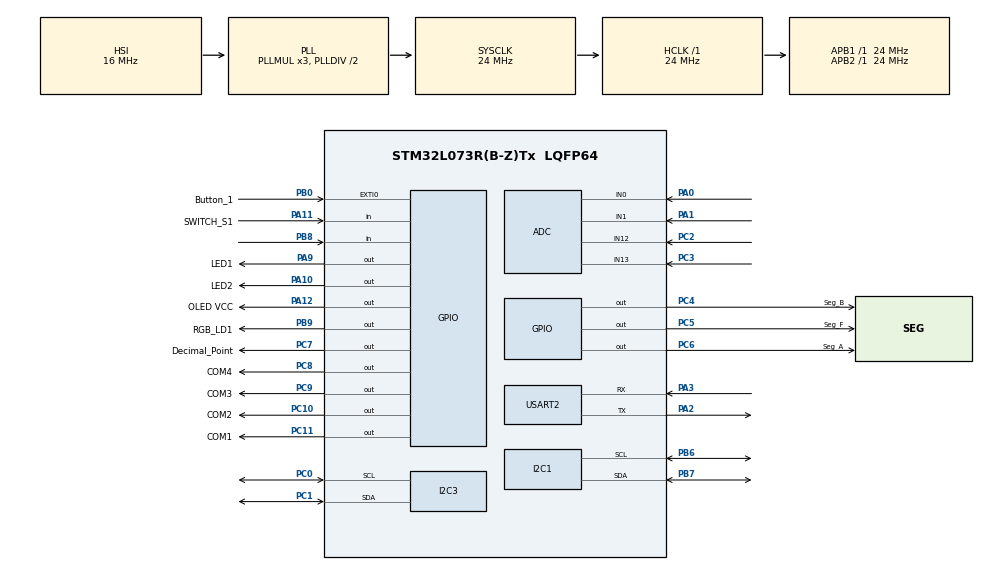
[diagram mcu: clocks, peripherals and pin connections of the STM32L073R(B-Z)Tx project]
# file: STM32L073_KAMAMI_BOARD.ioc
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Dma.ADC.0.Direction=DMA_PERIPH_TO_MEMORY
Dma.ADC.0.Instance=DMA1_Channel1
Dma.ADC.0.MemDataAlignment=DMA_MDATAALIGN_HALFWORD
Dma.ADC.0.MemInc=DMA_MINC_ENABLE
Dma.ADC.0.Mode=DMA_NORMAL
Dma.ADC.0.PeriphDataAlignment=DMA_PDATAALIGN_HALFWORD
Dma.ADC.0.PeriphInc=DMA_PINC_DISABLE
Dma.ADC.0.Priority=DMA_PRIORITY_LOW
Dma.Request0=ADC
I2C1.Timing=0x00506682
I2C3.Timing=0x00506682
Mcu.Family=STM32L0
Mcu.Name=STM32L073R(B-Z)Tx
Mcu.Package=LQFP64
NVIC.DMA1_Channel1_IRQn=true\:0\:0\:false\:false\:true\:false\:true\:true
NVIC.EXTI0_1_IRQn=true\:0\:0\:false\:false\:true\:true\:true\:true
NVIC.PVD_IRQn=true\:0\:0\:false\:false\:true\:true\:true\:true
NVIC.TIM6_DAC_IRQn=true\:0\:0\:false\:false\:true\:true\:true\:true
NVIC.USART2_IRQn=true\:0\:0\:false\:false\:true\:true\:true\:true
PA0.Mode=IN0
PA0.Signal=ADC_IN0
PA1.Mode=IN1
PA1.Signal=ADC_IN1
PA10.GPIO_Label=LED2
PA10.Signal=GPIO_Output
PA11.GPIO_Label=SWITCH_S1
PA11.Signal=GPIO_Input
PA12.GPIO_Label=OLED VCC
PA12.Signal=GPIO_Output
PA13.GPIO_Label=TMS
PA13.Mode=Serial_Wire
PA13.Signal=SYS_SWDIO
PA14.GPIO_Label=TCK
PA14.Mode=Serial_Wire
PA14.Signal=SYS_SWCLK
PA2.Mode=Asynchronous
PA2.Signal=USART2_TX
PA3.Mode=Asynchronous
PA3.Signal=USART2_RX
PA9.GPIO_Label=LED1
PA9.Signal=GPIO_Output
PB0.GPIO_Label=Button_1
PB0.GPIO_ModeDefaultEXTI=GPIO_MODE_IT_RISING
PB0.GPIO_PuPd=GPIO_PULLUP
PB0.Signal=GPXTI0
PB6.Mode=I2C
PB6.Signal=I2C1_SCL
PB7.Mode=I2C
PB7.Signal=I2C1_SDA
PB8.Signal=GPIO_Input
PB9.GPIO_Label=RGB_LD1
PB9.Signal=GPIO_Output
PC0.Mode=I2C
PC0.Signal=I2C3_SCL
PC1.Mode=I2C
PC1.Signal=I2C3_SDA
PC10.GPIO_Label=COM2
PC10.Signal=GPIO_Output
PC11.GPIO_Label=COM1
PC11.Signal=GPIO_Output
PC14-OSC32_IN.Mode=LSE-External-Oscillator
PC14-OSC32_IN.Signal=RCC_OSC32_IN
PC15-OSC32_OUT.Mode=LSE-External-Oscillator
PC15-OSC32_OUT.Signal=RCC_OSC32_OUT
PC2.Mode=IN12
PC2.Signal=ADC_IN12
PC3.Mode=IN13
PC3.Signal=ADC_IN13
PC4.GPIO_Label=Seg_B
PC4.Signal=GPIO_Output
PC5.GPIO_Label=Seg_F
PC5.Signal=GPIO_Output
PC6.GPIO_Label=Seg_A
PC6.Signal=GPIO_Output
PC7.GPIO_Label=Decimal_Point
PC7.Signal=GPIO_Output
PC8.GPIO_Label=COM4
PC8.Signal=GPIO_Output
PC9.GPIO_Label=COM3
PC9.Signal=GPIO_Output
PH0-OSC_IN.GPIO_Label=MCO
PH0-OSC_IN.Mode=HSE-External-Oscillator
PH0-OSC_IN.Signal=RCC_OSC_IN
PH1-OSC_OUT.Mode=HSE-External-Oscillator
PH1-OSC_OUT.Signal=RCC_OSC_OUT
ProjectManager.HeapSize=0x200
ProjectManager.StackSize=0x400
ProjectManager.TargetToolchain=MDK-ARM V5.32
RCC.AHBFreq_Value=24000000
RCC.APB1Freq_Value=24000000
RCC.APB1TimFreq_Value=24000000
RCC.APB2Freq_Value=24000000
RCC.APB2TimFreq_Value=24000000
RCC.HCLKFreq_Value=24000000
RCC.HSE_VALUE=8000000
RCC.HSI16_VALUE=16000000
RCC.HSI48_VALUE=48000000
RCC.HSI_VALUE=16000000
RCC.MSI_VALUE=2097000
RCC.SYSCLKFreq_VALUE=24000000
RCC.SYSCLKSource=RCC_SYSCLKSOURCE_PLLCLK
RCC.VCOOutputFreq_Value=48000000
TIM6.AutoReloadPreload=TIM_AUTORELOAD_PRELOAD_ENABLE
TIM6.Period=7999
TIM6.Prescaler=2999
TIM6.TIM_MasterOutputTrigger=TIM_TRGO_RESET
USART2.VirtualMode-Asynchronous=VM_ASYNC
VP_TIM6_VS_ClockSourceINT.Mode=Enable_Timer
board=NUCLEO-L073RZ

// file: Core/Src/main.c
/* USER CODE BEGIN Header */
/**
  ******************************************************************************
  * @file           : main.c
  * @brief          : Main program body
  ******************************************************************************
  * @attention
  *
  * Copyright (c) 2025 STMicroelectronics.
  * All rights reserved.
  *
  * This software is licensed under terms that can be found in the LICENSE file
  * in the root directory of this software component.
  * If no LICENSE file comes with this software, it is provided AS-IS.
  *
  ******************************************************************************
  */
/* USER CODE END Header */
#include "main.h"

/* USER CODE BEGIN Includes */
#include "math.h"
#include "sc_types.h"
#include "Statechart.h"
#include "Statechart_required.h"
#include "ssd1306.h"
#include "fonts.h"
#include <stdio.h>
#include <string.h>
#include "EventRecorder.h"

/* USER CODE END Includes */

ADC_HandleTypeDef hadc;
DMA_HandleTypeDef hdma_adc;

I2C_HandleTypeDef hi2c1;
I2C_HandleTypeDef hi2c3;

TIM_HandleTypeDef htim6;

UART_HandleTypeDef huart2;

void SystemClock_Config(void);
static void MX_GPIO_Init(void);
static void MX_DMA_Init(void);
static void MX_TIM6_Init(void);
static void MX_ADC_Init(void);
static void MX_I2C3_Init(void);
static void MX_USART2_UART_Init(void);
static void MX_I2C1_Init(void);

/* USER CODE BEGIN 0 */
#define BUFFERLEN 5
#define NUM_ADC_CHANNELS 2
#define ADC_RESOLUTION 4095
#define VREF 3.3
#define ADC_CONVERTED_DATA_BUFFER_SIZE   ((uint32_t)  32) // Size of array aADCxConvertedData[]
#define V_IN 3.3f
#define RC_SAMPLE_TIME_SEC 0.05f // 50 ms
#define R1_OHMS 10000.0f         // 10kO
#define R2_OHMS 100000.0f        // 100kO

/* Definition of ADCx conversions data table size */
/* Variable containing ADC conversions data */
uint8_t TxBuffer[100];   // TX data buffer
uint8_t RxBuffer[100];   // RX data buffer
uint16_t DataBufferADC[BUFFERLEN][NUM_ADC_CHANNELS];
uint16_t RawData[NUM_ADC_CHANNELS];
static uint16_t   aADCxConvertedData[ADC_CONVERTED_DATA_BUFFER_SIZE]; // Variable containing ADC conversions data
float AverageSensorsADC[NUM_ADC_CHANNELS];
float avg_current;
float Capacitance[2]; // Talpos [F]
float Capacitance_Avg; // Talpumo vidurkis
float Capacitance_Diff; // Talpumo skirtumas
Statechart sc_handle; // Statechart pointer
typedef enum {UART_READY,UART_BUSY,UART_FINISHED} UART_Status;
UART_Status Status=UART_READY;
#define ENABLE_EVENT_RECORDER
#define ENABLE_SLEEP

/* DEBUGGING AND PERFORMANCE DECLARATIONS (START) */
#define EVENT_ENTER_ID 0x1
#define EVENT_GOSLEEP_ID 0x2
#define EVENT_TIMER_ID 0x3
#define EVENT_ADC_ID 0x4
#define EVENT_DISPLAY_END_ID 0x5
#ifdef ENABLE_EVENT_RECORDER
#define DEBUG_EVENT_START() EventRecord2 (EVENT_ENTER_ID+EventLevelAPI, 0, 0)
#define DEBUG_EVENT_GOSLEEP() EventRecord2 (EVENT_GOSLEEP_ID+EventLevelAPI, 0, 0)
#define DEBUG_EVENT_TIMER() EventRecord2 (EVENT_TIMER_ID+EventLevelAPI, 0, 0)
#define DEBUG_EVENT_ADC() EventRecord2 (EVENT_ADC_ID+EventLevelAPI, 0, 0)
#define DEBUG_EVENT_DISPLAY() EventRecord2 (EVENT_DISPLAY_END_ID+EventLevelAPI, 0, 0)
#else
#define DEBUG_EVENT_START() __asm("NOP")
#define DEBUG_EVENT_GOSLEEP() __asm("NOP")
#define DEBUG_EVENT_TIMER() __asm("NOP")
#define DEBUG_EVENT_ADC() __asm("NOP")
#define DEBUG_EVENT_DISPLAY() __asm("NOP")
#endif
void HAL_UART_TxCpltCallback(UART_HandleTypeDef *huart)
{
if (Status==UART_BUSY)
	Status=UART_READY; // transmition finished, can send more if needed
}
void HandleError()
{
	uint32_t uart_err;
	uart_err=HAL_UART_GetError(&huart2);
}
void MyErrorHandlerADC()
{
}
/* Start ADC conversion in channal whose number is passed as parameter "channel"*/
sc_integer statechart_startConvADC( Statechart* handle, const sc_integer channel)
{
	if (HAL_ADC_Start_DMA(&hadc,(uint32_t *)aADCxConvertedData, NUM_ADC_CHANNELS) != HAL_OK)
	{
		MyErrorHandlerADC();// handle error};
		return 0;
	}
	return 1;
}
/* Read ADC sample from register and store in DataBUffer */
sc_integer statechart_readADCSample( Statechart* handle, const sc_integer channel)
{
	RawData[0]=aADCxConvertedData[0];
	RawData[1]=aADCxConvertedData[1];
	return 1;
}
sc_integer statechart_saveADCSample( Statechart* handle, const sc_integer channel, const sc_integer sample)
{
	DataBufferADC[sample][0]=RawData[0];
	DataBufferADC[sample][1]=RawData[1];
	return 1;
}
/* Calculate average values of acquired sensor readings */
void statechart_processData(Statechart* handle)
{
     uint32_t sum[NUM_ADC_CHANNELS] = {0};
    float voltages[NUM_ADC_CHANNELS];

    for (int i = 0; i < BUFFERLEN; i++)
    {
        for (int j = 0; j < NUM_ADC_CHANNELS; j++)
        {
            sum[j] += DataBufferADC[i][j];
        }
    }

    for (int j = 0; j < NUM_ADC_CHANNELS; j++)
    {
        uint32_t avg_adc = sum[j] / BUFFERLEN;
        voltages[j] = ((float)avg_adc / ADC_RESOLUTION) * VREF;
    }

    // Kanalas 0: R1 = 10k
    // Kanalas 1: R2 = 100k

    float ln_term_0 = 1.0f - (voltages[0] / V_IN);
    float ln_term_1 = 1.0f - (voltages[1] / V_IN);

    if (ln_term_0 > 0 && ln_term_1 > 0) {
        Capacitance[0] = -RC_SAMPLE_TIME_SEC / (R1_OHMS * logf(ln_term_0));
        Capacitance[1] = -RC_SAMPLE_TIME_SEC / (R2_OHMS * logf(ln_term_1));
    } else {
        Capacitance[0] = 0;
        Capacitance[1] = 0;
    }

    Capacitance_Diff = fabsf(Capacitance[0] - Capacitance[1]);
    Capacitance_Avg = (Capacitance[0] + Capacitance[1]) / 2.0f;
}
void statechart_displayInfo( Statechart* handle)
{
		#ifndef DISABLE_DISPLAY
    static char string_display[30];

    ssd1306_Fill(0);

    // Atvaizduoti vidurki
    ssd1306_SetCursor(0, 20);
    sprintf(string_display, "Avg: %.2fuF", Capacitance_Avg * 1e6);
    ssd1306_WriteString(string_display, Font_11x18, 1);

    // Atvaizduoti skirtuma
    ssd1306_SetCursor(0, 40);
    sprintf(string_display, "Dif: %.2fuF", Capacitance_Diff * 1e6);
    ssd1306_WriteString(string_display, Font_11x18, 1);

    ssd1306_UpdateScreen(&hi2c3);
		#endif
    DEBUG_EVENT_DISPLAY();
    __asm("NOP");
}
void statechart_sendInfo(void)
{
    if (Status != UART_READY) return;  // Don't transmit if UART is busy

    // Format the message with capacitance values in microFarads
    snprintf((char*)TxBuffer, sizeof(TxBuffer), "AVG: %.2f uF\r\nDIF: %.2f uF\r\n\r\n",
             Capacitance_Avg * 1e6, Capacitance_Diff * 1e6);

    // Mark UART as busy
    Status = UART_BUSY;

    // Start transmission in interrupt mode
    if (HAL_UART_Transmit_IT(&huart2, TxBuffer, strlen((char*)TxBuffer)) != HAL_OK) {
        HandleError();
        Status = UART_READY; // Recover if needed
    }
}
void statechart_readI2CSensor( Statechart* handle)
{
}
sc_integer statechart_saveI2CSample( Statechart* handle, const sc_integer sample_no)
{
}
void HAL_TIM_PeriodElapsedCallback(TIM_HandleTypeDef *htim)
{
	DEBUG_EVENT_TIMER();
	if (htim==&htim6)
	{
		HAL_ResumeTick(); // Enable SysTick after wake-up
		statechart_raise_ev_GetSample(&sc_handle); //raise event TimerIntr in statechart

		__NOP();
	}
}
void HAL_ADC_ConvCpltCallback(ADC_HandleTypeDef *hadc)
{
	DEBUG_EVENT_ADC();
	HAL_ResumeTick(); // Enable SysTick after wake-up
	statechart_raise_ev_ADCSampleReady(&sc_handle); //raise event TimerIntr in statechart
}

//static void SYSCLKConfig_STOP(void)
//{
//	RCC_ClkInitTypeDef RCC_ClkInitStruct = {0};
//	RCC_OscInitTypeDef RCC_OscInitStruct = {0};
//	uint32_t pFLatency = 0;
///* Enable Power Control clock */
//	__HAL_RCC_PWR_CLK_ENABLE();
///* Get the Oscillators configuration according to the internal RCC registers */
//	HAL_RCC_GetOscConfig(&RCC_OscInitStruct);
//	RCC_OscInitStruct.OscillatorType = RCC_OSCILLATORTYPE_NONE;
//	RCC_OscInitStruct.PLL.PLLState = RCC_PLL_ON;
//	if (HAL_RCC_OscConfig(&RCC_OscInitStruct) != HAL_OK)
//	{
//		Error_Handler();
//	}
///* Get the Clocks configuration according to the internal RCC registers */
//	HAL_RCC_GetClockConfig(&RCC_ClkInitStruct, &pFLatency);
//	/* Select PLL as system clock source and configure the HCLK, PCLK1 and PCLK2
//	clocks dividers */
//	RCC_ClkInitStruct.ClockType = RCC_CLOCKTYPE_SYSCLK;
//	RCC_ClkInitStruct.SYSCLKSource = RCC_SYSCLKSOURCE_PLLCLK;
//	if (HAL_RCC_ClockConfig(&RCC_ClkInitStruct, pFLatency) != HAL_OK)
//	{
//		Error_Handler();
//	}
//}

/* USER CODE END 0 */

int main(void)
{

  /* MCU Configuration--------------------------------------------------------*/

  /* Reset of all peripherals, Initializes the Flash interface and the Systick. */
  HAL_Init();

  /* Configure the system clock */
  SystemClock_Config();

  /* Initialize all configured peripherals */
  MX_GPIO_Init();
  MX_DMA_Init();
  MX_TIM6_Init();
  MX_ADC_Init();
  MX_I2C3_Init();
  MX_USART2_UART_Init();
  MX_I2C1_Init();
  /* USER CODE BEGIN 2 */
	#ifdef ENABLE_EVENT_RECORDER
		EventRecorderInitialize (EventRecordAll, 1); // initialize and start Event Recorder
	#endif
	ssd1306_Init(&hi2c3);

	#ifndef DISABLE_DISPLAY
	HAL_GPIO_WritePin(OLED_VCC_GPIO_Port,OLED_VCC_Pin,GPIO_PIN_SET); // apply Vcc to OLED display
// Init lcd using one of the stm32HAL i2c typedefs
 ssd1306_Init(&hi2c3);
 // Write data to local screenbuffer
// Write data to local screenbuffer
	ssd1306_SetCursor(0,0);
	ssd1306_WriteString("Haha Benis", Font_11x18, 1);
	ssd1306_SetCursor(0, 26);
	ssd1306_WriteString("Semestro projektas", Font_11x18, 1);
	ssd1306_SetCursor(0, 44);
	ssd1306_WriteString("2025", Font_11x18, 1);
		#endif
// Copy all data from local screenbuffer to the screen
  ssd1306_UpdateScreen(&hi2c3);

	#ifndef DISABLE_PROCESSING
  statechart_init(&sc_handle); // initialize state machine
  statechart_enter(&sc_handle); // run state machine

	if(HAL_TIM_Base_Start_IT(&htim6) != HAL_OK) //run TIM6 timer
   {
   }
		#endif

  /* USER CODE END 2 */

  /* Infinite loop */
  /* USER CODE BEGIN WHILE */
  while (1)
  {
    #ifdef ENABLE_SLEEP
        HAL_SuspendTick(); // Disable SysTick
    #endif

    DEBUG_EVENT_GOSLEEP();

    #ifdef ENABLE_SLEEP
        HAL_PWR_EnterSLEEPMode(PWR_MAINREGULATOR_ON, PWR_SLEEPENTRY_WFI);
    #endif

    statechart_sendInfo();  // Send data to computer
    HAL_Delay(1000);       // 1 second discretization period
  }
}

void SystemClock_Config(void)
{
  RCC_OscInitTypeDef RCC_OscInitStruct = {0};
  RCC_ClkInitTypeDef RCC_ClkInitStruct = {0};
  RCC_PeriphCLKInitTypeDef PeriphClkInit = {0};

  /** Configure the main internal regulator output voltage
  */
  __HAL_PWR_VOLTAGESCALING_CONFIG(PWR_REGULATOR_VOLTAGE_SCALE1);

  /** Initializes the RCC Oscillators according to the specified parameters
  * in the RCC_OscInitTypeDef structure.
  */
  RCC_OscInitStruct.OscillatorType = RCC_OSCILLATORTYPE_HSI;
  RCC_OscInitStruct.HSIState = RCC_HSI_ON;
  RCC_OscInitStruct.HSICalibrationValue = RCC_HSICALIBRATION_DEFAULT;
  RCC_OscInitStruct.PLL.PLLState = RCC_PLL_ON;
  RCC_OscInitStruct.PLL.PLLSource = RCC_PLLSOURCE_HSI;
  RCC_OscInitStruct.PLL.PLLMUL = RCC_PLLMUL_3;
  RCC_OscInitStruct.PLL.PLLDIV = RCC_PLLDIV_2;
  if (HAL_RCC_OscConfig(&RCC_OscInitStruct) != HAL_OK)
  {
    Error_Handler();
  }

  /** Initializes the CPU, AHB and APB buses clocks
  */
  RCC_ClkInitStruct.ClockType = RCC_CLOCKTYPE_HCLK|RCC_CLOCKTYPE_SYSCLK
                              |RCC_CLOCKTYPE_PCLK1|RCC_CLOCKTYPE_PCLK2;
  RCC_ClkInitStruct.SYSCLKSource = RCC_SYSCLKSOURCE_PLLCLK;
  RCC_ClkInitStruct.AHBCLKDivider = RCC_SYSCLK_DIV1;
  RCC_ClkInitStruct.APB1CLKDivider = RCC_HCLK_DIV1;
  RCC_ClkInitStruct.APB2CLKDivider = RCC_HCLK_DIV1;

  if (HAL_RCC_ClockConfig(&RCC_ClkInitStruct, FLASH_LATENCY_1) != HAL_OK)
  {
    Error_Handler();
  }
  PeriphClkInit.PeriphClockSelection = RCC_PERIPHCLK_USART2|RCC_PERIPHCLK_I2C1
                              |RCC_PERIPHCLK_I2C3;
  PeriphClkInit.Usart2ClockSelection = RCC_USART2CLKSOURCE_PCLK1;
  PeriphClkInit.I2c1ClockSelection = RCC_I2C1CLKSOURCE_PCLK1;
  PeriphClkInit.I2c3ClockSelection = RCC_I2C3CLKSOURCE_PCLK1;
  if (HAL_RCCEx_PeriphCLKConfig(&PeriphClkInit) != HAL_OK)
  {
    Error_Handler();
  }
}

static void MX_ADC_Init(void)
{

  ADC_ChannelConfTypeDef sConfig = {0};

  /** Configure the global features of the ADC (Clock, Resolution, Data Alignment and number of conversion)
  */
  hadc.Instance = ADC1;
  hadc.Init.OversamplingMode = DISABLE;
  hadc.Init.ClockPrescaler = ADC_CLOCK_SYNC_PCLK_DIV2;
  hadc.Init.Resolution = ADC_RESOLUTION_12B;
  hadc.Init.SamplingTime = ADC_SAMPLETIME_1CYCLE_5;
  hadc.Init.ScanConvMode = ADC_SCAN_DIRECTION_FORWARD;
  hadc.Init.DataAlign = ADC_DATAALIGN_RIGHT;
  hadc.Init.ContinuousConvMode = DISABLE;
  hadc.Init.DiscontinuousConvMode = DISABLE;
  hadc.Init.ExternalTrigConvEdge = ADC_EXTERNALTRIGCONVEDGE_NONE;
  hadc.Init.ExternalTrigConv = ADC_SOFTWARE_START;
  hadc.Init.DMAContinuousRequests = DISABLE;
  hadc.Init.EOCSelection = ADC_EOC_SINGLE_CONV;
  hadc.Init.Overrun = ADC_OVR_DATA_PRESERVED;
  hadc.Init.LowPowerAutoWait = DISABLE;
  hadc.Init.LowPowerFrequencyMode = DISABLE;
  hadc.Init.LowPowerAutoPowerOff = DISABLE;
  if (HAL_ADC_Init(&hadc) != HAL_OK)
  {
    Error_Handler();
  }

  /** Configure for the selected ADC regular channel to be converted.
  */
  sConfig.Channel = ADC_CHANNEL_0;
  sConfig.Rank = ADC_RANK_CHANNEL_NUMBER;
  if (HAL_ADC_ConfigChannel(&hadc, &sConfig) != HAL_OK)
  {
    Error_Handler();
  }

  /** Configure for the selected ADC regular channel to be converted.
  */
  sConfig.Channel = ADC_CHANNEL_1;
  if (HAL_ADC_ConfigChannel(&hadc, &sConfig) != HAL_OK)
  {
    Error_Handler();
  }

  /** Configure for the selected ADC regular channel to be converted.
  */
  sConfig.Channel = ADC_CHANNEL_12;
  if (HAL_ADC_ConfigChannel(&hadc, &sConfig) != HAL_OK)
  {
    Error_Handler();
  }

  /** Configure for the selected ADC regular channel to be converted.
  */
  sConfig.Channel = ADC_CHANNEL_13;
  if (HAL_ADC_ConfigChannel(&hadc, &sConfig) != HAL_OK)
  {
    Error_Handler();
  }

}

static void MX_I2C1_Init(void)
{

  hi2c1.Instance = I2C1;
  hi2c1.Init.Timing = 0x00506682;
  hi2c1.Init.OwnAddress1 = 0;
  hi2c1.Init.AddressingMode = I2C_ADDRESSINGMODE_7BIT;
  hi2c1.Init.DualAddressMode = I2C_DUALADDRESS_DISABLE;
  hi2c1.Init.OwnAddress2 = 0;
  hi2c1.Init.OwnAddress2Masks = I2C_OA2_NOMASK;
  hi2c1.Init.GeneralCallMode = I2C_GENERALCALL_DISABLE;
  hi2c1.Init.NoStretchMode = I2C_NOSTRETCH_DISABLE;
  if (HAL_I2C_Init(&hi2c1) != HAL_OK)
  {
    Error_Handler();
  }

  /** Configure Analogue filter
  */
  if (HAL_I2CEx_ConfigAnalogFilter(&hi2c1, I2C_ANALOGFILTER_ENABLE) != HAL_OK)
  {
    Error_Handler();
  }

  /** Configure Digital filter
  */
  if (HAL_I2CEx_ConfigDigitalFilter(&hi2c1, 0) != HAL_OK)
  {
    Error_Handler();
  }

}

static void MX_I2C3_Init(void)
{

  hi2c3.Instance = I2C3;
  hi2c3.Init.Timing = 0x00506682;
  hi2c3.Init.OwnAddress1 = 0;
  hi2c3.Init.AddressingMode = I2C_ADDRESSINGMODE_7BIT;
  hi2c3.Init.DualAddressMode = I2C_DUALADDRESS_DISABLE;
  hi2c3.Init.OwnAddress2 = 0;
  hi2c3.Init.OwnAddress2Masks = I2C_OA2_NOMASK;
  hi2c3.Init.GeneralCallMode = I2C_GENERALCALL_DISABLE;
  hi2c3.Init.NoStretchMode = I2C_NOSTRETCH_DISABLE;
  if (HAL_I2C_Init(&hi2c3) != HAL_OK)
  {
    Error_Handler();
  }

  /** Configure Analogue filter
  */
  if (HAL_I2CEx_ConfigAnalogFilter(&hi2c3, I2C_ANALOGFILTER_ENABLE) != HAL_OK)
  {
    Error_Handler();
  }

  /** Configure Digital filter
  */
  if (HAL_I2CEx_ConfigDigitalFilter(&hi2c3, 0) != HAL_OK)
  {
    Error_Handler();
  }

}

static void MX_TIM6_Init(void)
{

  TIM_MasterConfigTypeDef sMasterConfig = {0};

  htim6.Instance = TIM6;
  htim6.Init.Prescaler = 2999;
  htim6.Init.CounterMode = TIM_COUNTERMODE_UP;
  htim6.Init.Period = 7999;
  htim6.Init.AutoReloadPreload = TIM_AUTORELOAD_PRELOAD_ENABLE;
  if (HAL_TIM_Base_Init(&htim6) != HAL_OK)
  {
    Error_Handler();
  }
  sMasterConfig.MasterOutputTrigger = TIM_TRGO_RESET;
  sMasterConfig.MasterSlaveMode = TIM_MASTERSLAVEMODE_DISABLE;
  if (HAL_TIMEx_MasterConfigSynchronization(&htim6, &sMasterConfig) != HAL_OK)
  {
    Error_Handler();
  }

}

static void MX_USART2_UART_Init(void)
{

  huart2.Instance = USART2;
  huart2.Init.BaudRate = 115200;
  huart2.Init.WordLength = UART_WORDLENGTH_8B;
  huart2.Init.StopBits = UART_STOPBITS_1;
  huart2.Init.Parity = UART_PARITY_NONE;
  huart2.Init.Mode = UART_MODE_TX_RX;
  huart2.Init.HwFlowCtl = UART_HWCONTROL_NONE;
  huart2.Init.OverSampling = UART_OVERSAMPLING_16;
  huart2.Init.OneBitSampling = UART_ONE_BIT_SAMPLE_DISABLE;
  huart2.AdvancedInit.AdvFeatureInit = UART_ADVFEATURE_NO_INIT;
  if (HAL_UART_Init(&huart2) != HAL_OK)
  {
    Error_Handler();
  }

}

static void MX_DMA_Init(void)
{

  /* DMA controller clock enable */
  __HAL_RCC_DMA1_CLK_ENABLE();

  /* DMA interrupt init */
  /* DMA1_Channel1_IRQn interrupt configuration */
  HAL_NVIC_SetPriority(DMA1_Channel1_IRQn, 0, 0);
  HAL_NVIC_EnableIRQ(DMA1_Channel1_IRQn);

}

static void MX_GPIO_Init(void)
{
  GPIO_InitTypeDef GPIO_InitStruct = {0};

  /* GPIO Ports Clock Enable */
  __HAL_RCC_GPIOC_CLK_ENABLE();
  __HAL_RCC_GPIOH_CLK_ENABLE();
  __HAL_RCC_GPIOA_CLK_ENABLE();
  __HAL_RCC_GPIOB_CLK_ENABLE();

  /*Configure GPIO pin Output Level */
  HAL_GPIO_WritePin(GPIOC, Seg_B_Pin|Seg_F_Pin|Seg_A_Pin|Decimal_Point_Pin
                          |COM4_Pin|COM3_Pin|COM2_Pin|COM1_Pin, GPIO_PIN_RESET);

  /*Configure GPIO pin Output Level */
  HAL_GPIO_WritePin(GPIOA, LED1_Pin|LED2_Pin|OLED_VCC_Pin, GPIO_PIN_RESET);

  /*Configure GPIO pin Output Level */
  HAL_GPIO_WritePin(RGB_LD1_GPIO_Port, RGB_LD1_Pin, GPIO_PIN_RESET);

  /*Configure GPIO pins : Seg_B_Pin Seg_F_Pin Seg_A_Pin Decimal_Point_Pin
                           COM4_Pin COM3_Pin COM2_Pin COM1_Pin */
  GPIO_InitStruct.Pin = Seg_B_Pin|Seg_F_Pin|Seg_A_Pin|Decimal_Point_Pin
                          |COM4_Pin|COM3_Pin|COM2_Pin|COM1_Pin;
  GPIO_InitStruct.Mode = GPIO_MODE_OUTPUT_PP;
  GPIO_InitStruct.Pull = GPIO_NOPULL;
  GPIO_InitStruct.Speed = GPIO_SPEED_FREQ_LOW;
  HAL_GPIO_Init(GPIOC, &GPIO_InitStruct);

  /*Configure GPIO pin : Button_1_Pin */
  GPIO_InitStruct.Pin = Button_1_Pin;
  GPIO_InitStruct.Mode = GPIO_MODE_IT_RISING;
  GPIO_InitStruct.Pull = GPIO_PULLUP;
  HAL_GPIO_Init(Button_1_GPIO_Port, &GPIO_InitStruct);

  /*Configure GPIO pins : LED1_Pin LED2_Pin OLED_VCC_Pin */
  GPIO_InitStruct.Pin = LED1_Pin|LED2_Pin|OLED_VCC_Pin;
  GPIO_InitStruct.Mode = GPIO_MODE_OUTPUT_PP;
  GPIO_InitStruct.Pull = GPIO_NOPULL;
  GPIO_InitStruct.Speed = GPIO_SPEED_FREQ_LOW;
  HAL_GPIO_Init(GPIOA, &GPIO_InitStruct);

  /*Configure GPIO pin : SWITCH_S1_Pin */
  GPIO_InitStruct.Pin = SWITCH_S1_Pin;
  GPIO_InitStruct.Mode = GPIO_MODE_INPUT;
  GPIO_InitStruct.Pull = GPIO_NOPULL;
  HAL_GPIO_Init(SWITCH_S1_GPIO_Port, &GPIO_InitStruct);

  /*Configure GPIO pin : PB8 */
  GPIO_InitStruct.Pin = GPIO_PIN_8;
  GPIO_InitStruct.Mode = GPIO_MODE_INPUT;
  GPIO_InitStruct.Pull = GPIO_NOPULL;
  HAL_GPIO_Init(GPIOB, &GPIO_InitStruct);

  /*Configure GPIO pin : RGB_LD1_Pin */
  GPIO_InitStruct.Pin = RGB_LD1_Pin;
  GPIO_InitStruct.Mode = GPIO_MODE_OUTPUT_PP;
  GPIO_InitStruct.Pull = GPIO_NOPULL;
  GPIO_InitStruct.Speed = GPIO_SPEED_FREQ_LOW;
  HAL_GPIO_Init(RGB_LD1_GPIO_Port, &GPIO_InitStruct);

  /* EXTI interrupt init*/
  HAL_NVIC_SetPriority(EXTI0_1_IRQn, 0, 0);
  HAL_NVIC_EnableIRQ(EXTI0_1_IRQn);

}

void Error_Handler(void)
{
  __disable_irq();
  while (1)
  {
  }
}
